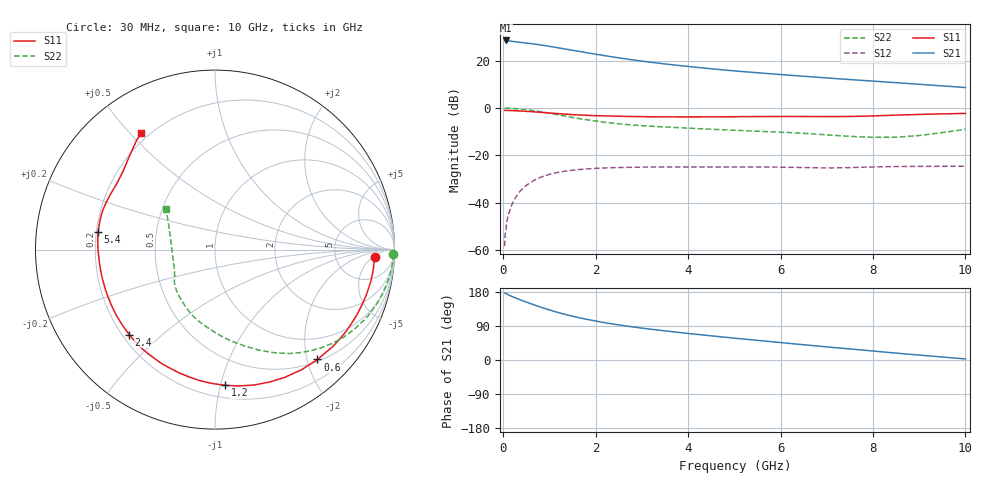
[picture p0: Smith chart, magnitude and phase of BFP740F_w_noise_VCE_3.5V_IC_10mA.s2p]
! Infineon Technologies  Discrete & RF Semiconductors
! BFP740F
! VCE =  3.5 V,  IC =  10 mA
! Common Emitter S-Parameters:  Oct 2012
# GHz  S  MA  R  50
!  f  S11  S21  S12  S22
! GHz  MAG  ANG  MAG  ANG  MAG  ANG  MAG  ANG
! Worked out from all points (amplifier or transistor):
!   99 points, 30 MHz to 10 GHz, reference 50 ohm
!   highest |S21| = 28.6 dB at 50 MHz (marker M1)
!   |S21| within 3 dB of that: start of sweep to 1.157 GHz
!   unconditionally stable (mu >= 1): 6.653 GHz to end of sweep
!   at 350 MHz: K = 0.09, MSG = 31.7 dB, |S12| = -35.5 dB
!   at 3.5 GHz: K = 0.49, MSG = 21.8 dB, |S12| = -25.0 dB
!   at 10 GHz: K = 1.27, MAG = 13.5 dB, |S12| = -24.6 dB
!   lowest NFmin = 0.44 dB at 450 MHz
!   S11 on the Smith chart (normalised r, x): 30 MHz: 15, -6; 600 MHz: 0.54, -2.19; 1.2 GHz: 0.29, -1.03; 2.4 GHz: 0.23, -0.39; 5.4 GHz: 0.21, +0.07; 10 GHz: 0.17, +0.54
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0.03  0.8909 -2.5  26.62 176.9  0.0012 93.2  0.9914 -1.5
0.05  0.8896 -4.0  26.76 175.9  0.0024 108.3  0.9917 -2.6
0.13  0.8866 -10.8  26.1 170.9  0.0061 81.4  0.9865 -7.0
0.25  0.8752 -20.4  25.27 164.5  0.0121 77.7  0.9695 -13.2
0.45  0.8551 -35.8  23.91 155.0  0.021 69.8  0.9314 -23.0
0.6  0.8371 -47.0  22.95 148.4  0.027 64.0  0.893 -30.0
0.8  0.8114 -61.2  21.62 139.9  0.034 56.9  0.8362 -38.7
0.9  0.798 -67.7  20.88 135.9  0.0369 53.3  0.8048 -42.9
1.1  0.7712 -80.1  19.37 128.4  0.0419 46.9  0.7423 -50.7
1.2  0.7583 -85.8  18.63 124.9  0.0439 44.1  0.7135 -54.2
1.5  0.7241 -101.5  16.59 115.5  0.0484 37.0  0.6307 -63.8
1.7  0.7066 -110.7  15.37 110.0  0.0506 33.3  0.5845 -69.6
2.1  0.6856 -126.2  13.23 100.4  0.0535 26.7  0.5131 -80.7
2.4  0.6727 -135.3  11.86 94.5  0.0548 22.9  0.4746 -87.5
2.8  0.6607 -145.7  10.42 87.4  0.0559 19.1  0.437 -95.3
3.4  0.6507 -158.3  8.765 78.3  0.0566 14.6  0.4017 -104.9
4.1  0.6479 -170.3  7.381 68.8  0.0569 11.2  0.3709 -113.3
5.1  0.6557 175.2  5.984 56.5  0.0567 7.6  0.3346 -124.7
5.4  0.6581 171.3  5.656 53.1  0.0566 6.7  0.3259 -128.1
6.7  0.6594 154.2  4.533 38.0  0.0546 4.7  0.2832 -143.1
8.5  0.7061 132.5  3.429 18.2  0.0579 5.5  0.2411 178.6
10  0.7678 122.3  2.707 2.9  0.0586 3.0  0.3549 140.2
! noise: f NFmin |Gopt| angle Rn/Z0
0.45  0.44  0.22  5  0.24
0.9  0.49  0.22  12  0.16
1.5  0.57  0.22  23  0.1
1.9  0.61  0.21  31  0.07
2.4  0.66  0.21  42  0.06
3.5  0.78  0.18  66  0.09
5.5  0.98  0.1  127  0.1
10  1.39  0.38  -118  0.09
